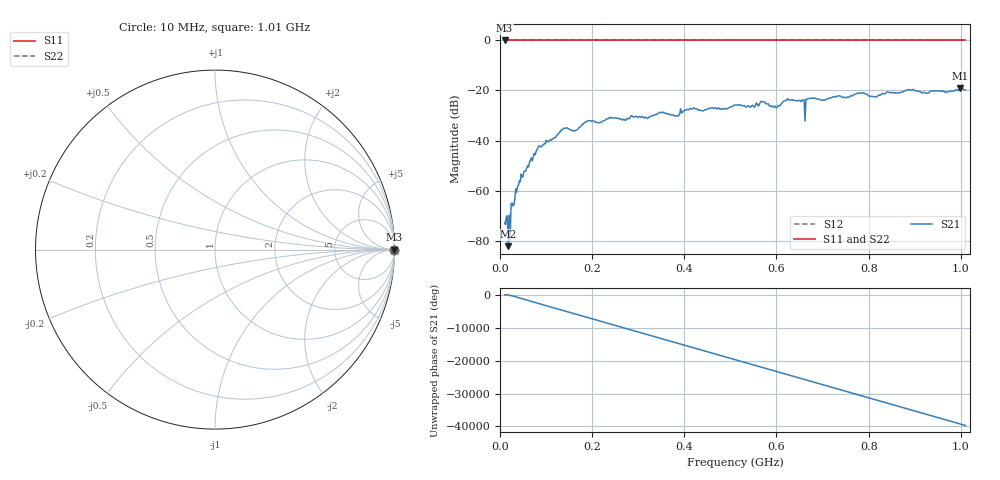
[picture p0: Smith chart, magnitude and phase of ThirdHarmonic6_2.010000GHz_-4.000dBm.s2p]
! 8/17/2025 12:08:10 AM
! C:\ANRITSUVNA\TEMP\TEMP.S2P
! CHANNEL.1
! TR.MEASUREMENT
! RAW.DATA
! RF.CORRECTION.OFF
! AVERAGING.OFF
! IF.BANDWIDTH: 5KHZ
! SWEEPTYPE:  FREQ.SWEEP(Linear)
! Reference Plane Port Info
! PORT:  PORT1  PORT2
! DISTANCE:  0  m  0  m
! TIME:  0  s  0  s
! PHASE.OFFSET:  0  deg.  0  deg.
! LOSS:  0  dB  0  dB
! REF.LOSS:  0  dB  0  dB
! REF.FREQ:  0  Hz  0  Hz
! Power Info
! POWER:  -20  dBm  -20  dBm
! EFF.POWER:  -20  dBm  -20  dBm
! SOURCE.ATTEN:  0  dB  0  dB
! TEST.ATTEN:  0  dB  0  dB
# GHZ S RI R 50.0
! FREQ.GHZ  S11RE  S11IM  S21RE  S21IM  S12RE  S12IM  S22RE  S22IM
!; PortSelection: Port_12
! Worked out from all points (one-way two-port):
!   501 points, 10 MHz to 1.01 GHz, reference 50 ohm
!   highest |S21| = -19.10 dB at 998 MHz (marker M1); lowest = -82.2 dB at 18 MHz (marker M2)
!   lowest |S11| = 0.0 dB at 10 MHz (marker M3)
!   |S11| at or under -10 dB: nowhere
!   |S22| runs from 0.0 to 0.0 dB; largest |S21 - S12| = 1.1
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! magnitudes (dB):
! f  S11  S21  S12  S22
! 10 MHz  0.0  -72.8  0.0  0.0
! 18 MHz  0.0  -82.2  0.0  0.0
! 22 MHz  0.0  -79.8  0.0  0.0
! 28 MHz  0.0  -66.2  0.0  0.0
! 42 MHz  0.0  -56.1  0.0  0.0
! 82 MHz  0.0  -43.0  0.0  0.0
! 136 MHz  0.0  -35.5  0.0  0.0
! 162 MHz  0.0  -36.1  0.0  0.0
! 178 MHz  0.0  -33.7  0.0  0.0
! 344 MHz  0.0  -29.2  0.0  0.0
! 384 MHz  0.0  -30.1  0.0  0.0
! 416 MHz  0.0  -27.4  0.0  0.0
! 510 MHz  0.0  -25.8  0.0  0.0
! 570 MHz  0.0  -24.4  0.0  0.0
! 598 MHz  0.0  -26.6  0.0  0.0
! 628 MHz  0.0  -23.8  0.0  0.0
! 656 MHz  0.0  -23.7  0.0  0.0
! 658 MHz  0.0  -23.8  0.0  0.0
! 678 MHz  0.0  -23.1  0.0  0.0
! 844 MHz  0.0  -20.7  0.0  0.0
! 998 MHz  0.0  -19.1  0.0  0.0
! 1.01 GHz  0.0  -19.8  0.0  0.0
